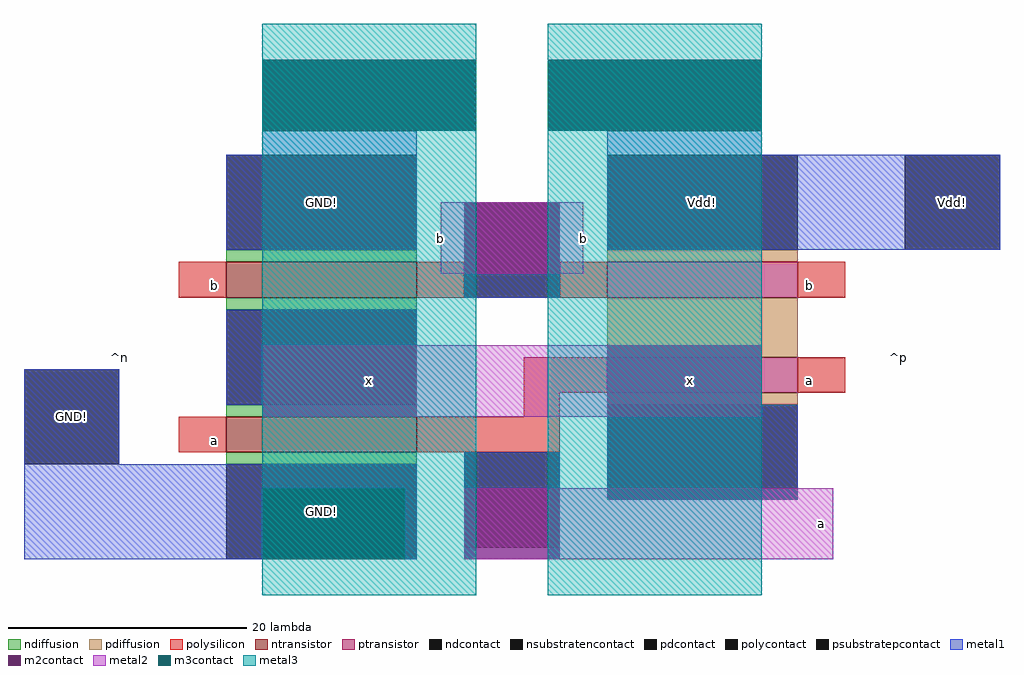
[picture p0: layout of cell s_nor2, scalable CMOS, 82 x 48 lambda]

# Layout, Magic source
magic
tech scmos
<< ndiffusion >>
rect -24 293 -8 294
rect -24 289 -8 290
rect -24 280 -8 281
rect -24 276 -8 277
<< pdiffusion >>
rect 8 293 24 294
rect 8 285 24 290
rect 8 281 24 282
<< ntransistor >>
rect -24 290 -8 293
rect -24 277 -8 280
<< ptransistor >>
rect 8 290 24 293
rect 8 282 24 285
<< polysilicon >>
rect -28 290 -24 293
rect -8 290 -4 293
rect 4 290 8 293
rect 24 290 28 293
rect 1 282 8 285
rect 24 282 28 285
rect 1 280 4 282
rect -28 277 -24 280
rect -8 277 4 280
<< ndcontact >>
rect -24 294 -8 302
rect -24 281 -8 289
rect -24 268 -8 276
<< pdcontact >>
rect 8 294 24 302
rect 8 273 24 281
<< psubstratepcontact >>
rect -41 276 -33 284
<< nsubstratencontact >>
rect 33 294 41 302
<< polycontact >>
rect -4 290 4 298
rect -4 269 4 277
<< metal1 >>
rect -21 302 -8 304
rect -24 294 -8 302
rect 8 302 21 304
rect 8 294 41 302
rect -4 290 4 292
rect -24 286 -8 289
rect -41 276 -33 284
rect -24 281 -21 286
rect 21 280 24 281
rect -41 274 -8 276
rect -41 268 -21 274
rect -9 268 -8 274
rect -4 274 4 277
rect 8 273 24 280
<< m2contact >>
rect -21 304 -3 310
rect 3 304 21 310
rect -4 292 4 298
rect -21 280 -8 286
rect 8 280 21 286
rect -21 268 -9 274
rect -4 268 4 274
<< metal2 >>
rect -6 292 6 298
rect -21 280 21 286
rect -4 268 27 274
<< m3contact >>
rect -21 304 -3 310
rect 3 304 21 310
rect -21 268 -9 274
<< metal3 >>
rect -21 265 -3 313
rect 3 265 21 313
<< labels >>
rlabel metal2 -12 283 -12 283 1 x
rlabel metal2 6 292 6 298 7 b
rlabel metal2 -6 292 -6 298 3 b
rlabel polysilicon -25 291 -25 291 1 b
rlabel polysilicon -25 278 -25 278 1 a
rlabel polysilicon 25 291 25 291 7 b
rlabel polysilicon 25 283 25 283 7 a
rlabel metal2 15 283 15 283 1 x
rlabel pdcontact 16 298 16 298 1 Vdd!
rlabel ndcontact -16 298 -16 298 1 GND!
rlabel ndcontact -16 272 -16 272 1 GND!
rlabel metal2 26 271 26 271 7 a
rlabel metal2 25 268 27 274 7 ^p
rlabel metal1 -37 280 -37 280 3 GND!
rlabel space -42 267 -24 303 7 ^n
rlabel metal1 37 298 37 298 7 Vdd!
rlabel space 23 267 42 303 3 ^p
<< end >>
